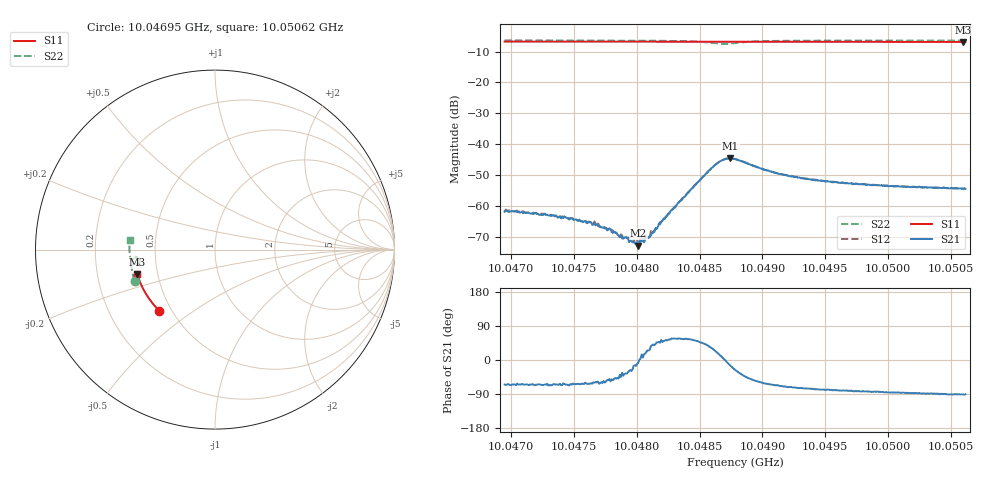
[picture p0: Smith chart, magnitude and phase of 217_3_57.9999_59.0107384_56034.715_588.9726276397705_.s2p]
#  HZ  S  RI  R  50.00
! Rohde & Schwarz Vector Network Analyzer
! Rohde-Schwarz,ZNB20-2Port,1311601062101988,3.16
! Created: UTC 3/21/2024, 1:00:00 AM
! freq[Hz]  re:S11  im:S11  re:S21  im:S21  re:S12  im:S12  re:S22  im:S22
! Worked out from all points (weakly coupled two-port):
!   401 points, 10.04695 GHz to 10.05062 GHz, reference 50 ohm
!   highest |S21| = -44.61 dB at 10.04875 GHz (marker M1); lowest = -72.8 dB at 10.04801 GHz (marker M2)
!   lowest |S11| = -6.9 dB at 10.0506 GHz (marker M3), VSWR 2.66, Z = 19.2 - j6.62 ohm
!   |S11| at or under -10 dB: nowhere
!   |S22| runs from -7.5 to -6.4 dB; largest |S21 - S12| = 0.00044
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1.0046949e10  -0.31 -0.3408  0.000346 -0.000732  0.000404 -0.000714  -0.4473 -0.1726
1.0047343e10  -0.3281 -0.3221  0.000306 -0.000619  0.000323 -0.000621  -0.4557 -0.1467
1.0047563e10  -0.3378 -0.311  0.000264 -0.000505  0.000284 -0.000485  -0.4595 -0.1317
1.0047683e10  -0.343 -0.3052  0.00026 -0.000433  0.000254 -0.000399  -0.4615 -0.1232
1.0047774e10  -0.3469 -0.3006  0.000252 -0.000336  0.00026 -0.000318  -0.4626 -0.1163
1.0047875e10  -0.3511 -0.2951  0.000234 -0.000234  0.000258 -0.000233  -0.464 -0.1089
1.0047921e10  -0.3528 -0.2928  0.00025 -0.000184  0.000246 -0.000173  -0.4644 -0.1053
1.0047967e10  -0.3547 -0.2903  0.000235 -0.000112  0.000243 -8.75e-05  -0.4649 -0.1017
1.0048012e10  -0.3566 -0.2879  0.000227 -2.94e-05  0.00025 -4.76e-05  -0.4653 -0.0979
1.0048031e10  -0.3573 -0.287  0.000261 1.47e-05  0.000295 3.29e-05  -0.4654 -0.0966
1.0048086e10  -0.3594 -0.2842  0.000281 0.000133  0.000261 0.000158  -0.4657 -0.092
1.0048177e10  -0.363 -0.2793  0.00035 0.000385  0.000328 0.000385  -0.4658 -0.0841
1.0048278e10  -0.3668 -0.2739  0.000468 0.000724  0.000445 0.00074  -0.465 -0.0743
1.004859e10  -0.378 -0.2567  0.00335 0.00218  0.00324 0.00237  -0.4376 -0.0443
1.0048672e10  -0.3808 -0.2522  0.00533 0.000942  0.0053 0.00124  -0.4209 -0.054
1.0048746e10  -0.3832 -0.2482  0.00569 -0.00149  0.00582 -0.00114  -0.4213 -0.073
1.0048782e10  -0.3844 -0.2464  0.00516 -0.0025  0.00536 -0.00219  -0.4281 -0.0794
1.0049112e10  -0.3956 -0.2276  0.00136 -0.00313  0.00153 -0.00306  -0.4677 -0.0587
1.0049397e10  -0.4043 -0.211  0.000636 -0.00258  0.000814 -0.00258  -0.474 -0.034
1.0050011e10  -0.4204 -0.1739  0.000158 -0.00209  0.000263 -0.00209  -0.4763 0.0117
1.0050597e10  -0.4328 -0.1372  -2.39e-05 -0.00192  6.5e-05 -0.00192  -0.4736 0.0518
1.0050616e10  -0.4332 -0.1361  -1.56e-05 -0.00189  0.000103 -0.00193  -0.4733 0.0531
